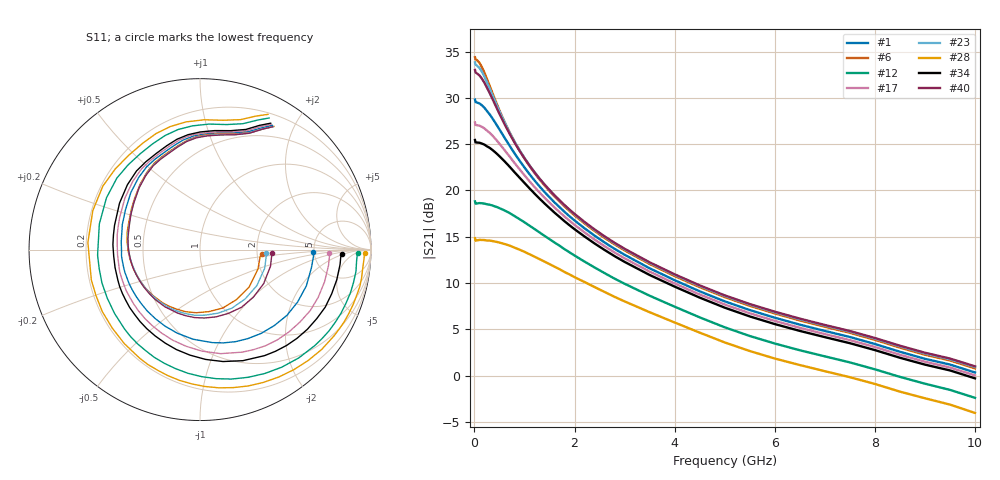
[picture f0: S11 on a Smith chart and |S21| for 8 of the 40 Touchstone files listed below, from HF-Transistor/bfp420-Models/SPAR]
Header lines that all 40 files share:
! Infineon Technologies  Discrete & RF Semiconductors
! BFP420
! Common Emitter S-Parameters:  Nov 2009
# GHz  S  MA  R  50
!  f  S11  S21  S12  S22
! GHz  MAG  ANG  MAG  ANG  MAG  ANG  MAG  ANG
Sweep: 10 MHz to 10 GHz
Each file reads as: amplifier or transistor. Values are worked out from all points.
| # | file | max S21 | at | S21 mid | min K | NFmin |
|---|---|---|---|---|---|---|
| 1 | 2p3V512M.s2p | 29.8 dB | 10 MHz | 18.2 dB at 1.7 GHz | 0.18 | 0.95 dB |
| 2 | 2p3V515M.s2p | 31.0 dB | 10 MHz | 18.4 dB at 1.7 GHz | 0.21 | 1.06 dB |
| 3 | 2p3V520M.s2p | 32.4 dB | 10 MHz | 18.7 dB at 1.7 GHz | 0.25 | 1.23 dB |
| 4 | 2p3V525M.s2p | 33.3 dB | 10 MHz | 18.8 dB at 1.7 GHz | 0.26 | 1.38 dB |
| 5 | 2p3V530M.s2p | 33.9 dB | 10 MHz | 18.8 dB at 1.7 GHz | 0.27 | 1.51 dB |
| 6 | 2p3V535M.s2p | 34.4 dB | 10 MHz | 18.8 dB at 1.7 GHz | 0.29 | 1.64 dB |
| 7 | 2p4V00M5.s2p | 6.0 dB | 10 MHz | 4.3 dB at 1.7 GHz | 0.01 | 0.68 dB |
| 8 | 2p4V01M0.s2p | 11.5 dB | 10 MHz | 8.9 dB at 1.7 GHz | 0.03 | 0.53 dB |
| 9 | 2p4V01M2.s2p | 12.9 dB | 10 MHz | 10.0 dB at 1.7 GHz | 0.03 | 0.53 dB |
| 10 | 2p4V01M5.s2p | 14.9 dB | 10 MHz | 11.5 dB at 1.7 GHz | 0.04 | 0.52 dB |
| 11 | 2p4V02M0.s2p | 17.0 dB | 10 MHz | 12.9 dB at 1.7 GHz | 0.06 | 0.53 dB |
| 12 | 2p4V02M5.s2p | 18.8 dB | 10 MHz | 14.0 dB at 1.7 GHz | 0.07 | 0.55 dB |
| 13 | 2p4V03M0.s2p | 20.3 dB | 10 MHz | 14.8 dB at 1.7 GHz | 0.08 | 0.57 dB |
| 14 | 2p4V04M0.s2p | 22.5 dB | 10 MHz | 15.9 dB at 1.7 GHz | 0.11 | 0.61 dB |
| 15 | 2p4V05M0.s2p | 24.1 dB | 10 MHz | 16.6 dB at 1.7 GHz | 0.13 | 0.66 dB |
| 16 | 2p4V06M0.s2p | 25.4 dB | 10 MHz | 17.1 dB at 1.7 GHz | 0.15 | 0.70 dB |
| 17 | 2p4V08M0.s2p | 27.4 dB | 10 MHz | 17.7 dB at 1.7 GHz | 0.19 | 0.79 dB |
| 18 | 2p4V09M0.s2p | 28.1 dB | 10 MHz | 17.9 dB at 1.7 GHz | 0.20 | - |
| 19 | 2p4V012M.s2p | 29.8 dB | 10 MHz | 18.3 dB at 1.7 GHz | 0.24 | 0.95 dB |
| 20 | 2p4V015M.s2p | 31.0 dB | 10 MHz | 18.5 dB at 1.7 GHz | 0.28 | 1.06 dB |
| 21 | 2p4V020M.s2p | 32.3 dB | 10 MHz | 18.7 dB at 1.7 GHz | 0.31 | 1.23 dB |
| 22 | 2p4V025M.s2p | 33.2 dB | 10 MHz | 18.9 dB at 1.7 GHz | 0.33 | 1.38 dB |
| 23 | 2p4V030M.s2p | 33.8 dB | 10 MHz | 18.9 dB at 1.7 GHz | 0.35 | 1.51 dB |
| 24 | 2p4V035M.s2p | 34.3 dB | 10 MHz | 18.9 dB at 1.7 GHz | 0.35 | 1.64 dB |
| 25 | 2p4V50M5.s2p | 6.1 dB | 10 MHz | 4.4 dB at 1.7 GHz | 0.02 | 0.68 dB |
| 26 | 2p4V51M0.s2p | 11.3 dB | 10 MHz | 8.8 dB at 1.7 GHz | 0.04 | 0.53 dB |
| 27 | 2p4V51M2.s2p | 13.2 dB | 10 MHz | 10.3 dB at 1.7 GHz | 0.05 | 0.53 dB |
| 28 | 2p4V51M5.s2p | 14.8 dB | 10 MHz | 11.5 dB at 1.7 GHz | 0.05 | 0.52 dB |
| 29 | 2p4V52M0.s2p | 17.1 dB | 10 MHz | 13.0 dB at 1.7 GHz | 0.07 | 0.53 dB |
| 30 | 2p4V52M5.s2p | 18.9 dB | 10 MHz | 14.1 dB at 1.7 GHz | 0.09 | 0.55 dB |
| 31 | 2p4V53M0.s2p | 20.3 dB | 10 MHz | 14.9 dB at 1.7 GHz | 0.11 | 0.57 dB |
| 32 | 2p4V54M0.s2p | 22.5 dB | 10 MHz | 16.0 dB at 1.7 GHz | 0.14 | 0.61 dB |
| 33 | 2p4V55M0.s2p | 24.2 dB | 10 MHz | 16.7 dB at 1.7 GHz | 0.17 | 0.66 dB |
| 34 | 2p4V56M0.s2p | 25.5 dB | 10 MHz | 17.1 dB at 1.7 GHz | 0.20 | 0.70 dB |
| 35 | 2p4V58M0.s2p | 27.4 dB | 10 MHz | 17.7 dB at 1.7 GHz | 0.24 | 0.79 dB |
| 36 | 2p4V59M0.s2p | 28.1 dB | 10 MHz | 18.0 dB at 1.7 GHz | 0.27 | - |
| 37 | 2p4V512M.s2p | 29.7 dB | 10 MHz | 18.4 dB at 1.7 GHz | 0.32 | 0.95 dB |
| 38 | 2p4V515M.s2p | 30.9 dB | 10 MHz | 18.6 dB at 1.7 GHz | 0.36 | 1.06 dB |
| 39 | 2p4V520M.s2p | 32.2 dB | 10 MHz | 18.8 dB at 1.7 GHz | 0.40 | 1.23 dB |
| 40 | 2p4V525M.s2p | 33.0 dB | 10 MHz | 18.9 dB at 1.7 GHz | 0.43 | 1.38 dB |

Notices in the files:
Praktikum_HF-Schaltungstechnik/HF-Transistor/bfp420-Models/SPAR/2p3V512M.s2p:
(c) 2009  Infineon Technologies AG, Munich
